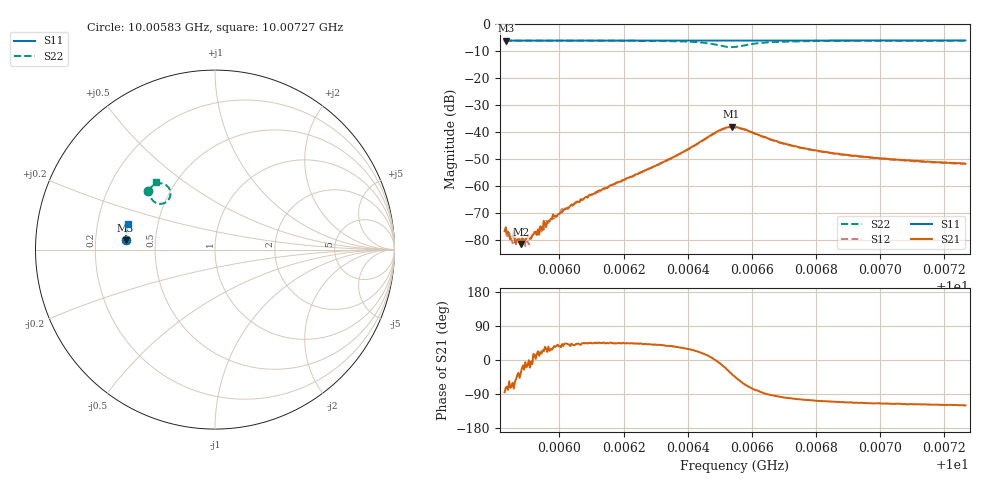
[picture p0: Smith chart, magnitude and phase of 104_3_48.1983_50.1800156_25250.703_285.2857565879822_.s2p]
#  HZ  S  RI  R  50.00
! Rohde & Schwarz Vector Network Analyzer
! Rohde-Schwarz,ZNB20-2Port,1311601062101988,3.16
! Created: UTC 3/20/2024, 11:40:43 AM
! freq[Hz]  re:S11  im:S11  re:S21  im:S21  re:S12  im:S12  re:S22  im:S22
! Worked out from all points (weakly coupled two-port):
!   401 points, 10.00583 GHz to 10.00727 GHz, reference 50 ohm
!   highest |S21| = -37.96 dB at 10.00654 GHz (marker M1); lowest = -81.4 dB at 10.00588 GHz (marker M2)
!   lowest |S11| = -6.0 dB at 10.00583 GHz (marker M3), VSWR 3.01, Z = 16.7 + j2.3 ohm
!   |S11| at or under -10 dB: nowhere
!   |S22| runs from -8.4 to -6.0 dB; largest |S21 - S12| = 0.00089
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1.0005829e10  -0.4986 0.0515  1.24e-05 -0.000145  1.42e-05 -0.000152  -0.375 0.3272
1.0005833e10  -0.4984 0.0517  4.85e-05 -0.000166  5.6e-05 -0.000139  -0.375 0.3275
1.0005844e10  -0.4986 0.0524  6.64e-05 -9.88e-05  1.43e-05 -0.000137  -0.3745 0.3282
1.0005858e10  -0.4985 0.0533  3.74e-05 -0.000144  6.22e-05 -8.46e-05  -0.3737 0.3292
1.0005869e10  -0.4985 0.054  7.9e-05 -6.64e-05  5.71e-05 -9.21e-05  -0.373 0.3298
1.0005879e10  -0.4983 0.0548  7.02e-05 -4.82e-05  7.17e-05 -3.08e-05  -0.3724 0.3305
1.0005905e10  -0.4982 0.0563  0.000118 -1.2e-06  8.27e-05 -6.53e-06  -0.3711 0.332
1.0005941e10  -0.4979 0.0588  0.00017 6.43e-05  0.000139 9.3e-05  -0.369 0.3346
1.0005948e10  -0.498 0.0593  0.000138 6.6e-05  0.000148 9.87e-05  -0.3685 0.3349
1.0005962e10  -0.4979 0.0602  0.000203 7.92e-05  0.000193 9.65e-05  -0.3676 0.336
1.000598e10  -0.4977 0.0612  0.000255 0.000158  0.000203 0.000144  -0.3664 0.3372
1.0006009e10  -0.4975 0.0632  0.000243 0.000221  0.000291 0.000246  -0.3648 0.3391
1.000607e10  -0.4971 0.0672  0.000401 0.000386  0.0004 0.000404  -0.3604 0.3435
1.000631e10  -0.4951 0.0828  0.00195 0.00167  0.00184 0.00169  -0.3326 0.3633
1.0006454e10  -0.4932 0.0922  0.0073 0.002  0.00701 0.00224  -0.2755 0.3608
1.0006504e10  -0.4923 0.0952  0.011 -0.00222  0.0108 -0.00161  -0.2478 0.3151
1.0006536e10  -0.492 0.0965  0.0102 -0.00752  0.0104 -0.00666  -0.2662 0.2696
1.0006547e10  -0.4918 0.097  0.00887 -0.00864  0.00903 -0.00808  -0.2802 0.2602
1.0006626e10  -0.492 0.1021  0.000835 -0.00864  0.00121 -0.00843  -0.3535 0.2832
1.0006788e10  -0.4902 0.1126  -0.00133 -0.00452  -0.00113 -0.00451  -0.3577 0.3344
1.0007028e10  -0.4872 0.1277  -0.00137 -0.00288  -0.00118 -0.00287  -0.3427 0.3609
1.0007265e10  -0.4835 0.1426  -0.00129 -0.00227  -0.00114 -0.0023  -0.3294 0.3766
